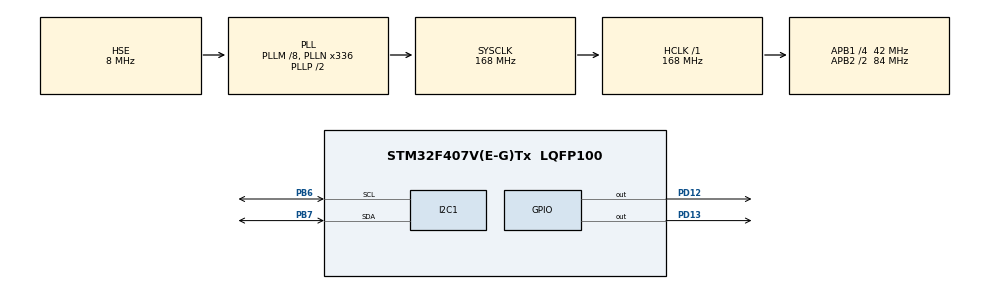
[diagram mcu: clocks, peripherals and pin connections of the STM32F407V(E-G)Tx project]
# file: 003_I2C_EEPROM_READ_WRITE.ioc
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Mcu.Family=STM32F4
Mcu.Name=STM32F407V(E-G)Tx
Mcu.Package=LQFP100
NVIC.PriorityGroup=NVIC_PRIORITYGROUP_0
PB6.GPIO_Pu=GPIO_PULLUP
PB6.Mode=I2C
PB6.Signal=I2C1_SCL
PB7.GPIO_Pu=GPIO_PULLUP
PB7.Mode=I2C
PB7.Signal=I2C1_SDA
PD12.Signal=GPIO_Output
PD13.Signal=GPIO_Output
PH0-OSC_IN.Mode=HSE-External-Oscillator
PH0-OSC_IN.Signal=RCC_OSC_IN
PH1-OSC_OUT.Mode=HSE-External-Oscillator
PH1-OSC_OUT.Signal=RCC_OSC_OUT
ProjectManager.HeapSize=0x200
ProjectManager.StackSize=0x400
ProjectManager.TargetToolchain=STM32CubeIDE
RCC.48MHZClocksFreq_Value=48000000
RCC.AHBFreq_Value=168000000
RCC.APB1CLKDivider=RCC_HCLK_DIV4
RCC.APB1Freq_Value=42000000
RCC.APB1TimFreq_Value=84000000
RCC.APB2CLKDivider=RCC_HCLK_DIV2
RCC.APB2Freq_Value=84000000
RCC.APB2TimFreq_Value=168000000
RCC.CortexFreq_Value=168000000
RCC.HCLKFreq_Value=168000000
RCC.HSE_VALUE=8000000
RCC.HSI_VALUE=16000000
RCC.PLLM=8
RCC.PLLN=336
RCC.PLLQ=7
RCC.PLLSourceVirtual=RCC_PLLSOURCE_HSE
RCC.SYSCLKFreq_VALUE=168000000
RCC.SYSCLKSource=RCC_SYSCLKSOURCE_PLLCLK
RCC.VCOOutputFreq_Value=336000000
board=STM32F407G-DISC1

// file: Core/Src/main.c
/* USER CODE BEGIN Header */
/**
  ******************************************************************************
  * @file           : main.c
  * @brief          : Main program body
  ******************************************************************************
  * @attention
  *
  * Copyright (c) 2022 STMicroelectronics.
  * All rights reserved.
  *
  * This software is licensed under terms that can be found in the LICENSE file
  * in the root directory of this software component.
  * If no LICENSE file comes with this software, it is provided AS-IS.
  *
  ******************************************************************************
  */
/* USER CODE END Header */
#include "main.h"

/* USER CODE BEGIN Includes */
#include <string.h>
#include <stdlib.h>
/* USER CODE END Includes */

I2C_HandleTypeDef hi2c1;

void SystemClock_Config(void);
static void MX_GPIO_Init(void);
static void MX_I2C1_Init(void);
/* USER CODE BEGIN PFP */
HAL_StatusTypeDef Write_To_24LCxx(I2C_HandleTypeDef *hi2c, uint16_t DevAddress, uint16_t MemAddress, uint8_t *pData, uint16_t len);
HAL_StatusTypeDef Read_From_24LCxx(I2C_HandleTypeDef *hi2c, uint16_t DevAddress, uint16_t MemAddress, uint8_t *pData, uint16_t len);
/* USER CODE END PFP */

int main(void)
{
  /* USER CODE BEGIN 1 */
	const char wmsg[] = "Hi I am Mr.Sahin!";
	  char rmsg[20];
  /* USER CODE END 1 */

  /* MCU Configuration--------------------------------------------------------*/

  /* Reset of all peripherals, Initializes the Flash interface and the Systick. */
  HAL_Init();

  /* Configure the system clock */
  SystemClock_Config();

  /* Initialize all configured peripherals */
  MX_GPIO_Init();
  MX_I2C1_Init();
  /* USER CODE BEGIN 2 */
  Write_To_24LCxx(&hi2c1, 0xA0, 0x1AAA, (uint8_t*)wmsg, strlen(wmsg)+1);
  Read_From_24LCxx(&hi2c1, 0xA0, 0x1AAA, (uint8_t*)rmsg, strlen(wmsg)+1);

    if(strcmp(wmsg, rmsg) == 0) {
      while(1) {
        HAL_GPIO_TogglePin(GPIOD, GPIO_PIN_12);
        HAL_Delay(100);
      }
    }
  /* USER CODE END 2 */

  /* Infinite loop */
  while (1)
  {

    /* USER CODE BEGIN 3 */
	  HAL_GPIO_TogglePin(GPIOD, GPIO_PIN_13);
	  HAL_Delay(100);
  }
  /* USER CODE END 3 */
}

void SystemClock_Config(void)
{
  RCC_OscInitTypeDef RCC_OscInitStruct = {0};
  RCC_ClkInitTypeDef RCC_ClkInitStruct = {0};

  /** Configure the main internal regulator output voltage
  */
  __HAL_RCC_PWR_CLK_ENABLE();
  __HAL_PWR_VOLTAGESCALING_CONFIG(PWR_REGULATOR_VOLTAGE_SCALE1);
  /** Initializes the RCC Oscillators according to the specified parameters
  * in the RCC_OscInitTypeDef structure.
  */
  RCC_OscInitStruct.OscillatorType = RCC_OSCILLATORTYPE_HSE;
  RCC_OscInitStruct.HSEState = RCC_HSE_ON;
  RCC_OscInitStruct.PLL.PLLState = RCC_PLL_ON;
  RCC_OscInitStruct.PLL.PLLSource = RCC_PLLSOURCE_HSE;
  RCC_OscInitStruct.PLL.PLLM = 8;
  RCC_OscInitStruct.PLL.PLLN = 336;
  RCC_OscInitStruct.PLL.PLLP = RCC_PLLP_DIV2;
  RCC_OscInitStruct.PLL.PLLQ = 7;
  if (HAL_RCC_OscConfig(&RCC_OscInitStruct) != HAL_OK)
  {
    Error_Handler();
  }
  /** Initializes the CPU, AHB and APB buses clocks
  */
  RCC_ClkInitStruct.ClockType = RCC_CLOCKTYPE_HCLK|RCC_CLOCKTYPE_SYSCLK
                              |RCC_CLOCKTYPE_PCLK1|RCC_CLOCKTYPE_PCLK2;
  RCC_ClkInitStruct.SYSCLKSource = RCC_SYSCLKSOURCE_PLLCLK;
  RCC_ClkInitStruct.AHBCLKDivider = RCC_SYSCLK_DIV1;
  RCC_ClkInitStruct.APB1CLKDivider = RCC_HCLK_DIV4;
  RCC_ClkInitStruct.APB2CLKDivider = RCC_HCLK_DIV2;

  if (HAL_RCC_ClockConfig(&RCC_ClkInitStruct, FLASH_LATENCY_5) != HAL_OK)
  {
    Error_Handler();
  }
}

static void MX_I2C1_Init(void)
{

  hi2c1.Instance = I2C1;
  hi2c1.Init.ClockSpeed = 100000;
  hi2c1.Init.DutyCycle = I2C_DUTYCYCLE_2;
  hi2c1.Init.OwnAddress1 = 0;
  hi2c1.Init.AddressingMode = I2C_ADDRESSINGMODE_7BIT;
  hi2c1.Init.DualAddressMode = I2C_DUALADDRESS_DISABLE;
  hi2c1.Init.OwnAddress2 = 0;
  hi2c1.Init.GeneralCallMode = I2C_GENERALCALL_DISABLE;
  hi2c1.Init.NoStretchMode = I2C_NOSTRETCH_DISABLE;
  if (HAL_I2C_Init(&hi2c1) != HAL_OK)
  {
    Error_Handler();
  }

}

static void MX_GPIO_Init(void)
{
  GPIO_InitTypeDef GPIO_InitStruct = {0};

  /* GPIO Ports Clock Enable */
  __HAL_RCC_GPIOH_CLK_ENABLE();
  __HAL_RCC_GPIOD_CLK_ENABLE();
  __HAL_RCC_GPIOB_CLK_ENABLE();

  /*Configure GPIO pin Output Level */
  HAL_GPIO_WritePin(GPIOD, GPIO_PIN_12|GPIO_PIN_13, GPIO_PIN_RESET);

  /*Configure GPIO pins : PD12 PD13 */
  GPIO_InitStruct.Pin = GPIO_PIN_12|GPIO_PIN_13;
  GPIO_InitStruct.Mode = GPIO_MODE_OUTPUT_PP;
  GPIO_InitStruct.Pull = GPIO_NOPULL;
  GPIO_InitStruct.Speed = GPIO_SPEED_FREQ_LOW;
  HAL_GPIO_Init(GPIOD, &GPIO_InitStruct);

}

/* USER CODE BEGIN 4 */
HAL_StatusTypeDef Read_From_24LCxx(I2C_HandleTypeDef *hi2c, uint16_t DevAddress, uint16_t MemAddress, uint8_t *pData, uint16_t len) {
  HAL_StatusTypeDef returnValue;
  uint8_t addr[2];

  /* We compute the MSB and LSB parts of the memory address */
  addr[0] = (uint8_t) ((MemAddress & 0xFF00) >> 8);
  addr[1] = (uint8_t) (MemAddress & 0xFF);

  /* First we send the memory location address where start reading data */
  returnValue = HAL_I2C_Master_Transmit(hi2c, DevAddress, addr, 2, HAL_MAX_DELAY);
  if(returnValue != HAL_OK)
    return returnValue;

  /* Next we can retrieve the data from EEPROM */
  returnValue = HAL_I2C_Master_Receive(hi2c, DevAddress, pData, len, HAL_MAX_DELAY);

  return returnValue;
}

HAL_StatusTypeDef Write_To_24LCxx(I2C_HandleTypeDef *hi2c, uint16_t DevAddress, uint16_t MemAddress, uint8_t *pData, uint16_t len) {
  HAL_StatusTypeDef returnValue;
  uint8_t *data;

  /* First we allocate a temporary buffer to store the destination memory
   * address and the data to store */
  data = (uint8_t*)malloc(sizeof(uint8_t)*(len+2));

  /* We compute the MSB and LSB parts of the memory address */
  data[0] = (uint8_t) ((MemAddress & 0xFF00) >> 8);
  data[1] = (uint8_t) (MemAddress & 0xFF);

  /* And copy the content of the pData array in the temporary buffer */
  memcpy(data+2, pData, len);

  /* We are now ready to transfer the buffer over the I2C bus */
  returnValue = HAL_I2C_Master_Transmit(hi2c, DevAddress, data, len + 2, HAL_MAX_DELAY);
  if(returnValue != HAL_OK)
    return returnValue;

  free(data);

  /* We wait until the EEPROM effectively stores data in memory */
  while(HAL_I2C_Master_Transmit(hi2c, DevAddress, 0, 0, HAL_MAX_DELAY) != HAL_OK);

  return HAL_OK;
}
/* USER CODE END 4 */

void Error_Handler(void)
{
  __disable_irq();
  while (1)
  {
  }
}
